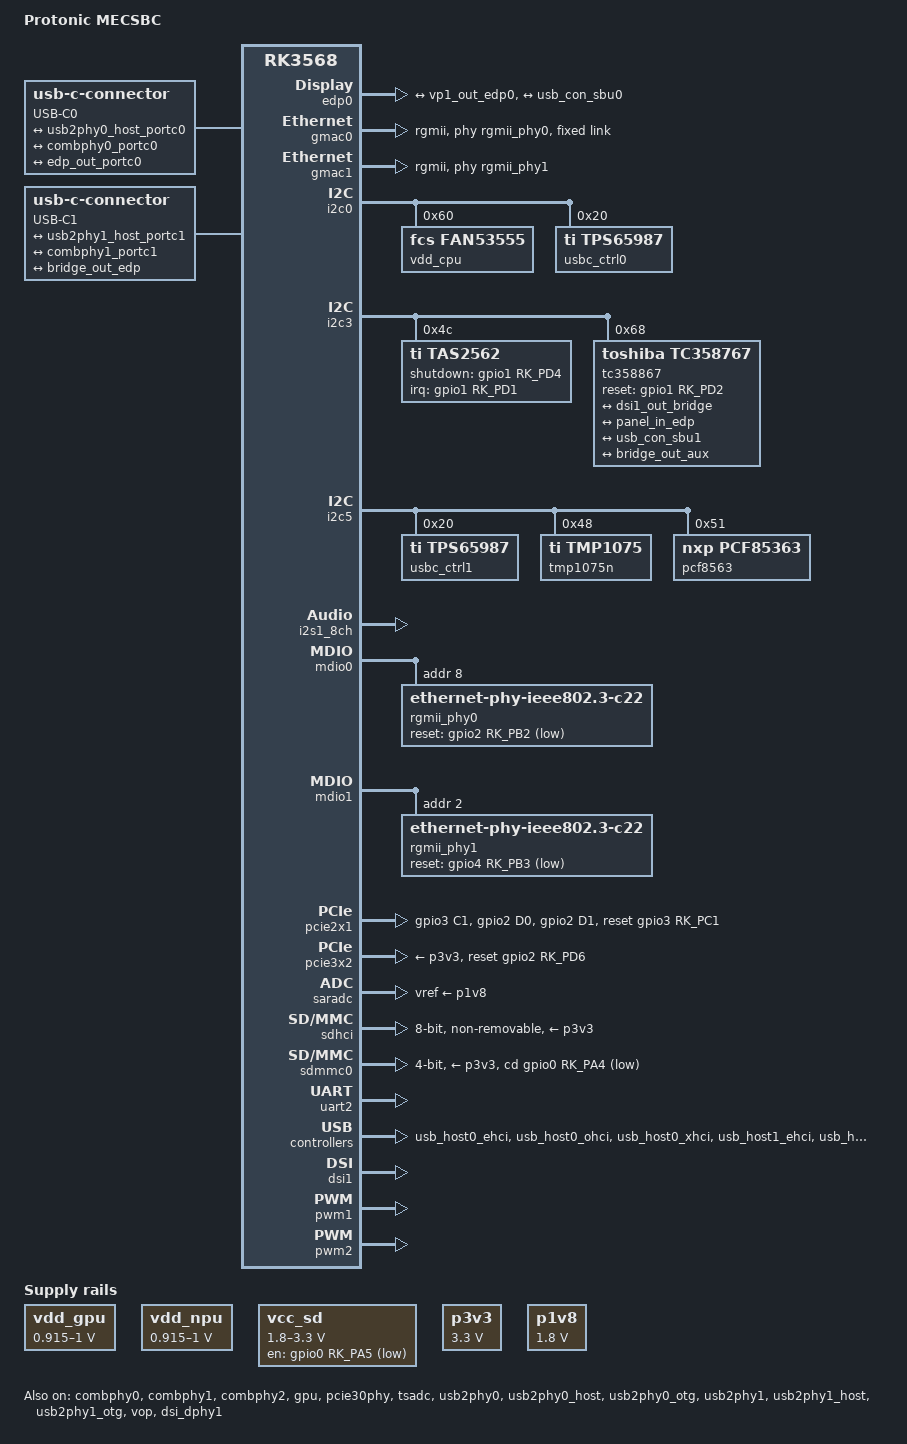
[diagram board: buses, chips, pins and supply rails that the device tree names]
// SPDX-License-Identifier: (GPL-2.0+ OR MIT)

/dts-v1/;
#include <dt-bindings/gpio/gpio.h>
#include <dt-bindings/leds/common.h>
#include <dt-bindings/pinctrl/rockchip.h>
#include <dt-bindings/soc/rockchip,vop2.h>
#include <dt-bindings/pwm/pwm.h>
#include <arm64/rockchip/rk3568.dtsi>

/ {
	model = "Protonic MECSBC";
	compatible = "prt,mecsbc", "rockchip,rk3568";

	aliases {
		ethernet0 = &gmac0;
		ethernet1 = &gmac1;
		ethernet2 = &rtl8111;
		mmc0 = &sdhci;
		mmc1 = &sdmmc0;
	};

	chosen: chosen {
		stdout-path = "serial2:1500000n8";
	};

	tas2562-sound {
		compatible = "simple-audio-card";
		simple-audio-card,format = "i2s";
		simple-audio-card,name = "Speaker";
		simple-audio-card,mclk-fs = <256>;

		simple-audio-card,cpu {
			sound-dai = <&i2s1_8ch>;
		};

		simple-audio-card,codec {
			sound-dai = <&tas2562>;
		};
	};

	vdd_gpu: regulator-vdd-gpu {
		compatible = "pwm-regulator";
		pwms = <&pwm1 0 5000 PWM_POLARITY_INVERTED>;
		pinctrl-names = "default";
		pinctrl = <&pwm1m0_pins>;
		regulator-name = "vdd_gpu";
		regulator-min-microvolt = <915000>;
		regulator-max-microvolt = <1000000>;
		regulator-always-on;
		regulator-boot-on;
		regulator-settling-time-up-us = <250>;
		pwm-dutycycle-range = <0 100>; /* dutycycle inverted 0% => 0.915V */
	};

	vdd_npu: regulator-vdd-npu {
		compatible = "pwm-regulator";
		pwms = <&pwm2 0 5000 PWM_POLARITY_INVERTED>;
		pinctrl-names = "default";
		pinctrl = <&pwm2m0_pins>;
		regulator-name = "vdd_npu";
		regulator-min-microvolt = <915000>;
		regulator-max-microvolt = <1000000>;
		regulator-always-on;
		regulator-boot-on;
		regulator-settling-time-up-us = <250>;
		pwm-dutycycle-range = <0 100>; /* dutycycle inverted 0% => 0.915V */
	};

	vcc_sd: bd2204-switch {
		compatible = "regulator-gpio";
		enable-gpios = <&gpio0 RK_PA5 GPIO_ACTIVE_HIGH>;
		gpios = <&gpio0 RK_PA6 GPIO_ACTIVE_HIGH>;
		regulator-name = "sdcard-gpio-supply";
		regulator-min-microvolt = <1800000>;
		regulator-max-microvolt = <3300000>;
		regulator-boot-on;
		states = <1800000 0x1>, <3300000 0x0>;
	};

	p3v3: p3v3-regulator {
		compatible = "regulator-fixed";
		regulator-name = "p3v3";
		regulator-always-on;
		regulator-boot-on;
		regulator-min-microvolt = <3300000>;
		regulator-max-microvolt = <3300000>;
	};

	p1v8: p1v8-regulator {
		compatible = "regulator-fixed";
		regulator-name = "p1v8";
		regulator-always-on;
		regulator-boot-on;
		regulator-min-microvolt = <1800000>;
		regulator-max-microvolt = <1800000>;
	};

	portc0: connector_c0 {
		compatible = "usb-c-connector";
		label = "USB-C0";

		ports {
			#address-cells = <1>;
			#size-cells = <0>;

			port@0 {
				reg = <0>;
				usb_con_hs0: endpoint {
					remote-endpoint = <&usb2phy0_host_portc0>;
				};
			};

			port@1 {
				reg = <1>;
				usb_con_ss0: endpoint {
					remote-endpoint = <&combphy0_portc0>;
				};
			};

			port@2 {
				reg = <2>;
				usb_con_sbu0: endpoint {
					remote-endpoint = <&edp_out_portc0>;
				};
			};
		};
	};

	portc1: connector_c1 {
		compatible = "usb-c-connector";
		label = "USB-C1";

		ports {
			#address-cells = <1>;
			#size-cells = <0>;

			port@0 {
				reg = <0>;
				usb_con_hs1: endpoint {
					remote-endpoint = <&usb2phy1_host_portc1>;
				};
			};

			port@1 {
				reg = <1>;
				usb_con_ss1: endpoint {
					remote-endpoint = <&combphy1_portc1>;
				};
			};

			port@2 {
				reg = <2>;
				usb_con_sbu1: endpoint {
					remote-endpoint = <&bridge_out_edp>;
				};
			};
		};
	};

	edp0: edp@fe0c0000 {
		compatible = "rockchip,rk3568-edp", "rockchip,rk3399-edp";
		reg = <0x0 0xfe0c0000 0x0 0x10000>;
		rockchip,grf = <&grf>;
		interrupts = <GIC_SPI 18 IRQ_TYPE_LEVEL_HIGH>;
		clocks = <&cru CLK_EDP_200M>, <&cru PCLK_EDP_CTRL>, <&cru PCLK_EDPPHY_GRF>;
		clock-names = "dp", "pclk", "grf";
		power-domains = <&power RK3568_PD_VO>;
		resets = <&cru SRST_P_EDP_CTRL>;
		reset-names = "dp";
		status = "okay";

		ports {
			#address-cells = <1>;
			#size-cells = <0>;

			edp_in: port@0 {
				reg = <0>;
			};

			edp_out: port@1 {
				reg = <1>;
			};
		};
	};
};

&combphy0 {
	status = "okay";
	port {
		combphy0_portc0: endpoint {
			remote-endpoint = <&usb_con_ss0>;
		};
	};
};

&combphy1 {
	status = "okay";
	port {
		combphy1_portc1: endpoint {
			remote-endpoint = <&usb_con_ss1>;
		};
	};
};

&combphy2 {
	status = "okay";
};

&cpu0 {
	cpu-supply = <&vdd_cpu>;
};

&cpu1 {
	cpu-supply = <&vdd_cpu>;
};

&cpu2 {
	cpu-supply = <&vdd_cpu>;
};

&cpu3 {
	cpu-supply = <&vdd_cpu>;
};

&gmac0 {
	assigned-clocks = <&cru SCLK_GMAC0_RX_TX>, <&cru SCLK_GMAC0>;
	assigned-clock-parents = <&cru SCLK_GMAC0_RGMII_SPEED>, <&cru CLK_MAC0_2TOP>;
	phy-handle = <&rgmii_phy0>;
	phy-mode = "rgmii";
	clock_in_out = "output";
	pinctrl-names = "default";
	pinctrl-0 = <&gmac0_miim
		     &gmac0_tx_bus2
		     &gmac0_rx_bus2
		     &gmac0_rgmii_clk
		     &gmac0_clkinout
		     &gmac0_rgmii_bus>;
	status = "okay";
	tx_delay = <0x30>;
	rx_delay = <0x10>;
	fixed-link {
		speed = <1000>;
		full-duplex;
		pause;
	};
};

&gmac1 {
	assigned-clocks = <&cru SCLK_GMAC1_RX_TX>, <&cru SCLK_GMAC1>;
	assigned-clock-parents = <&cru SCLK_GMAC1_RGMII_SPEED>, <&cru CLK_MAC1_2TOP>;
	phy-handle = <&rgmii_phy1>;
	phy-mode = "rgmii";
	clock_in_out = "output";
	pinctrl-names = "default";
	pinctrl-0 = <&gmac1m1_miim
		     &gmac1m1_tx_bus2
		     &gmac1m1_rx_bus2
		     &gmac1m1_rgmii_clk
		     &gmac1m1_clkinout
		     &gmac1m1_rgmii_bus>;
	status = "okay";
	tx_delay = <0x30>;
	rx_delay = <0x10>;
};

&gpu {
	mali-supply = <&vdd_gpu>;
	status = "okay";
};

&i2c0 {
	status = "okay";

	vdd_cpu: regulator@60 {
		compatible = "fcs,fan53555";
		reg = <0x60>;
		fcs,suspend-voltage-selector = <1>;
		regulator-name = "vdd_cpu";
		regulator-always-on;
		regulator-boot-on;
		regulator-min-microvolt = <800000>;
		regulator-max-microvolt = <1150000>;
		regulator-ramp-delay = <2300>;

		regulator-state-mem {
			regulator-off-in-suspend;
		};
	};

	usbc_ctrl0: tps65987d@20 {
		compatible = "ti,tps65987", "ti,tps6598x";
		reg = <0x20>;
	};
};

&i2c3 {
	pinctrl-names = "default";
	pinctrl-0 = <&i2c3m0_xfer>;
	status = "okay";

	tas2562: tas2562@4c {
		compatible = "ti,tas2562";
		reg = <0x4c>;
		#sound-dai-cells = <0>;
		shutdown-gpios = <&gpio1 RK_PD4 GPIO_ACTIVE_HIGH>;
		interrupt-parent = <&gpio1>;
		pinctrl-names = "default";
		pinctrl-0 = <&pinctrl_tas2562>;
		interrupts = <RK_PD1 IRQ_TYPE_LEVEL_LOW>;
		ti,imon-slot-no = <0>;
	};

	tc358867: tc358867@68 {
		compatible = "toshiba,tc358767";
		reg = <0x68>;
		pinctrl-names = "default";
		pinctrl-0 = <&pinctrl_tc358867>;
		reset-gpios = <&gpio1 RK_PD2 GPIO_ACTIVE_HIGH>;
		clocks = <&cru CLK_CIF_OUT>;
		clock-names = "ref";
		toshiba,hpd-pin = <0>;
		assigned-clocks = <&cru USB480M>, <&cru CLK_CIF_OUT>;
		assigned-clock-parents = <0>, <&cru USB480M>;
		assigned-clock-rates = <480000000>, <19200000>;

		ports {
			#address-cells = <1>;
			#size-cells = <0>;

			port@0 {
				reg = <0>;

				bridge_in: endpoint {
					remote-endpoint = <&dsi1_out_bridge>;
					data-lanes = <1 2 3 4>;
				};
			};

			port@2 {
				reg = <2>;
				#address-cells = <1>;
				#size-cells = <0>;

				bridge_out_aux: endpoint@0 {
					remote-endpoint = <&panel_in_edp>;
				};

				bridge_out_edp: endpoint@1 {
					remote-endpoint = <&usb_con_sbu1>;
				};
			};
		};

		aux-bus {
			panel {
				compatible = "edp-panel";

				port {
					panel_in_edp: endpoint {
						remote-endpoint = <&bridge_out_aux>;
					};
				};
			};
		};
	};
};

&i2c5 {
	status = "okay";

	usbc_ctrl1: tps65987d@20 {
		compatible = "ti,tps65987", "ti,tps6598x";
		reg = <0x20>;
	};

	tmp1075n@48 {
		compatible = "ti,tmp1075";
		reg = <0x48>;
	};

	pcf8563: rtc@51 {
		compatible = "nxp,pcf85363";
		reg = <0x51>;
		#clock-cells = <0>;
		clock-output-names = "rtcic_32kout";
	};
};

&i2s1_8ch {
	pinctrl-names = "default";
	pinctrl-0 = <&i2s1m0_sclktx &i2s1m0_lrcktx &i2s1m0_sdi0 &i2s1m0_sdo0>;
	rockchip,trcm-sync-tx-only;
	status = "okay";
};

&mdio0 {
	rgmii_phy0: ethernet-phy@8 {
		compatible = "ethernet-phy-ieee802.3-c22";
		reg = <0x8>;
		pinctrl-names = "default";
		pinctrl-0 = <&eth_phy0_rst>;
		reset-assert-us = <20000>;
		reset-deassert-us = <100000>;
		reset-gpios = <&gpio2 RK_PB2 GPIO_ACTIVE_LOW>;
	};
};

&mdio1 {
	rgmii_phy1: ethernet-phy@2 {
		compatible = "ethernet-phy-ieee802.3-c22";
		reg = <0x2>;
		pinctrl-names = "default";
		pinctrl-0 = <&eth_phy1_rst>;
		reset-assert-us = <20000>;
		reset-deassert-us = <100000>;
		reset-gpios = <&gpio4 RK_PB3 GPIO_ACTIVE_LOW>;
	};
};

&pcie2x1 {
	pinctrl-names = "default";
	/* pinctrl-0 = <&pcie20m1_pins>; */
	pinctrl-0 = <&pcie_reset_h>;
	reset-gpios = <&gpio3 RK_PC1 GPIO_ACTIVE_HIGH>;
	status = "okay";

	pci@0,0 {
		device_type = "pci";
		#address-cells = <3>;
		#size-cells = <2>;
		ranges;

		reg = <0 0 0 0 0>;

		rtl8111: net@0,0 {
			reg = <0 0 0 0 0>;
		};
	};
};

&pcie30phy {
	status = "okay";
};

&pcie3x2 {
	pinctrl-names = "default";
	pinctrl-0 = <&pcie30x2m1_pins>;
	reset-gpios = <&gpio2 RK_PD6 GPIO_ACTIVE_HIGH>;
	vpcie3v3-supply = <&p3v3>;
	status = "okay";
};

&pinctrl {
	ethernet {
		eth_phy0_rst: eth_phy0_rst {
			rockchip,pins = <2 RK_PB2 RK_FUNC_GPIO &pcfg_pull_none>;
		};

		eth_phy1_rst: eth_phy1_rst {
			rockchip,pins = <4 RK_PB3 RK_FUNC_GPIO &pcfg_pull_none>;
		};
	};

	tc358867 {
		pinctrl_tc358867: tc358867 {
			rockchip,pins = <1 RK_PD2 RK_FUNC_GPIO &pcfg_pull_none>,
					<4 RK_PC0 1 &pcfg_pull_none>,
					<1 RK_PD3 RK_FUNC_GPIO &pcfg_pull_up>;

		};
	};

	tas2562 {
		pinctrl_tas2562: tas2562 {
			rockchip,pins = <1 RK_PD4 RK_FUNC_GPIO &pcfg_pull_up>;
		};
	};

	pcie {
		pcie_reset_h: pcie-reset-h {
			rockchip,pins = <3 RK_PC1 RK_FUNC_GPIO &pcfg_pull_none>,
				/* pcie20_clkreqnm1 */
				<2 RK_PD0 4 &pcfg_pull_none>,
				/* pcie20_wakenm1 */
				<2 RK_PD1 4 &pcfg_pull_none>;
		};
	};

};

&pmu_io_domains {
	pmuio1-supply = <&p3v3>;
	pmuio2-supply = <&p3v3>;
	vccio1-supply = <&p1v8>;
	vccio2-supply = <&p1v8>;
	/* vccio3-supply = <&vcc_sd>; */
	vccio3-supply = <&p3v3>;
	vccio4-supply = <&p1v8>;
	vccio5-supply = <&p3v3>;
	vccio6-supply = <&p1v8>;
	vccio7-supply = <&p3v3>;
	status = "okay";
};

&saradc {
	vref-supply = <&p1v8>;
	status = "okay";
};

&sdhci {
	bus-width = <8>;
	max-frequency = <200000000>;
	non-removable;
	pinctrl-names = "default";
	pinctrl-0 = <&emmc_bus8 &emmc_clk &emmc_cmd &emmc_datastrobe>;
	vmmc-supply = <&p3v3>;
	vqmmc-supply = <&p1v8>;
	supports-emmc;
	mmc-hs200-1_8v;
	non-removable;
	status = "okay";
};

&sdmmc0 {
	bus-width = <4>;
	cap-sd-highspeed;
	cd-gpios = <&gpio0 RK_PA4 GPIO_ACTIVE_LOW>;
	disable-wp;
	pinctrl-names = "default";
	pinctrl-0 = <&sdmmc0_bus4 &sdmmc0_clk &sdmmc0_cmd &sdmmc0_det>;
	sd-uhs-sdr50;
	sd-uhs-sdr104;
	vmmc-supply = <&p3v3>;
	vqmmc-supply = <&vcc_sd>;
	status = "okay";
};

&tsadc {
	rockchip,hw-tshut-mode = <1>;
	rockchip,hw-tshut-polarity = <0>;
	status = "okay";
};

&uart2 {
	status = "okay";
};

&usb_host0_ehci {
	status = "okay";
};

&usb_host0_ohci {
	status = "okay";
};

&usb_host0_xhci {
	extcon = <&usb2phy0>;
	status = "okay";
};

&usb_host1_ehci {
	status = "okay";
};

&usb_host1_ohci {
	status = "okay";
};

&usb_host1_xhci {
	status = "okay";
};

&usb2phy0 {
	status = "okay";
};

&usb2phy0_host {
	status = "okay";
	port {
		usb2phy0_host_portc0: endpoint {
			remote-endpoint = <&usb_con_hs0>;
		};
	};
};

&usb2phy0_otg {
	status = "okay";
};

&usb2phy1 {
	status = "okay";
};

&usb2phy1_host {
	status = "okay";
	port {
		usb2phy1_host_portc1: endpoint {
			remote-endpoint = <&usb_con_hs1>;
		};
	};
};

&usb2phy1_otg {
	status = "okay";
};

&vop {
	assigned-clocks = <&cru DCLK_VOP0>, <&cru DCLK_VOP1>;
	assigned-clock-parents = <&pmucru PLL_HPLL>, <&cru PLL_VPLL>;
	status = "okay";
};

&vop_mmu {
	status = "okay";
};

&vp0 {
	vp0_out_dsi1: endpoint@ROCKCHIP_VOP2_EP_MIPI1 {
		reg = <ROCKCHIP_VOP2_EP_MIPI1>;
		remote-endpoint = <&dsi1_in_vp0>;
	};
};

&vp1 {
	vp1_out_edp0: endpoint@ROCKCHIP_VOP2_EP_EDP0 {
		reg = <ROCKCHIP_VOP2_EP_EDP0>;
		remote-endpoint = <&edp_in_vp1>;
	};
};

&dsi1 {
	status = "okay";
};

&dsi_dphy1 {
	status = "okay";
};

&dsi1_in {
	dsi1_in_vp0: endpoint {
		remote-endpoint = <&vp0_out_dsi1>;
	};
};

&dsi1_out {
	dsi1_out_bridge: endpoint {
		remote-endpoint = <&bridge_in>;
	};
};

&edp_in {
	edp_in_vp1: endpoint {
		remote-endpoint = <&vp1_out_edp0>;
	};
};

&edp_out {
	edp_out_portc0: endpoint {
		remote-endpoint = <&usb_con_sbu0>;
	};
};

&pwm1 {
	status = "okay";
};

&pwm2 {
	status = "okay";
};

&gpu_opp_table {
	compatible = "operating-points-v2";

	opp-200000000 {
		opp-hz = /bits/ 64 <200000000>;
		opp-microvolt = <915000>;
	};

	opp-300000000 {
		opp-hz = /bits/ 64 <300000000>;
		opp-microvolt = <915000>;
	};

	opp-400000000 {
		opp-hz = /bits/ 64 <400000000>;
		opp-microvolt = <915000>;
	};

	opp-600000000 {
		opp-hz = /bits/ 64 <600000000>;
		opp-microvolt = <920000>;
	};

	opp-700000000 {
		opp-hz = /bits/ 64 <700000000>;
		opp-microvolt = <950000>;
	};

	opp-800000000 {
		opp-hz = /bits/ 64 <800000000>;
		opp-microvolt = <1000000>;
	};
};
